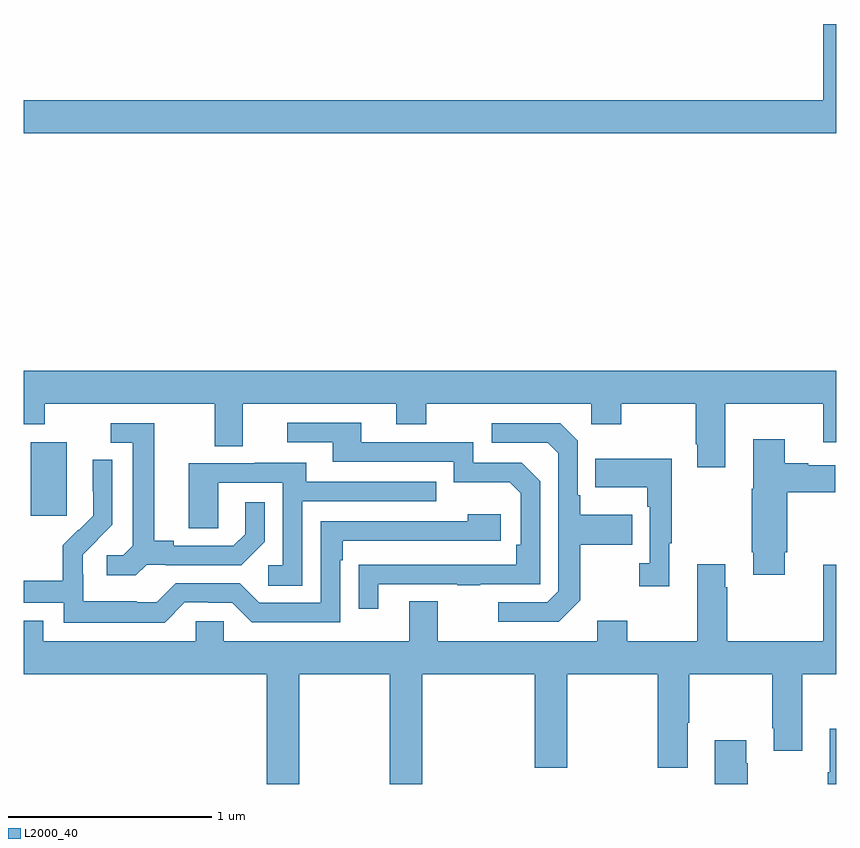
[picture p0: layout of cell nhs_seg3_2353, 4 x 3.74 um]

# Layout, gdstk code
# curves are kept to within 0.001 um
import gdstk
lib = gdstk.Library(unit=1e-6, precision=1e-09)
def R(c, l, rs):  # rectangles x0, y0, x1, y1
    for r in rs: c.add(gdstk.rectangle(r[:2], r[2:], *l))
def P(c, l, *ps):  # polygons
    for p in ps: c.add(gdstk.Polygon(p, *l))
L2000_40 = (2000, 40)

nhs_seg3_2353 = lib.new_cell('nhs_seg3_2353')
R(nhs_seg3_2353, L2000_40, [(233.033,677.721,233.212,678.082)])
P(nhs_seg3_2353, L2000_40, [(237,680.143),(236.936,680.143),(236.936,679.768),(233,679.768),(233,679.604),(237,679.604)],
  [(236.455,678.272),(236.936,678.272),(236.936,678.084),(237,678.084),(237,678.436),(233,678.436),(233,678.173),(233.103,678.173),(233.103,678.272),(233.939,678.272),(233.939,678.064),(234.079,678.064),(234.079,678.272),(234.833,678.272),(234.833,678.173),(234.981,678.173),(234.981,678.272),(235.794,678.272),(235.794,678.173),(235.941,678.173),(235.941,678.272),(236.308,678.272),(236.308,678.073),(236.315,678.073),(236.315,677.961),(236.455,677.961)],
  [(234.745,677.385),(235.135,677.385),(235.135,677.38),(235.247,677.38),(235.247,677.385),(235.542,677.385),(235.542,677.892),(235.452,677.982),(235.212,677.982),(235.212,678.084),(234.661,678.084),(234.661,678.18),(234.297,678.18),(234.297,678.084),(234.521,678.084),(234.521,677.988),(235.116,677.988),(235.116,677.885),(235.393,677.885),(235.446,677.832),(235.446,677.578),(235.426,677.578),(235.426,677.481),(234.649,677.48),(234.649,677.262),(234.745,677.262)],
  [(235.741,677.305),(235.741,677.578),(235.997,677.578),(235.997,677.725),(235.741,677.725),(235.741,677.821),(235.728,677.821),(235.728,678.09),(235.641,678.177),(235.305,678.177),(235.305,678.081),(235.581,678.081),(235.632,678.03),(235.632,677.349),(235.578,677.295),(235.335,677.295),(235.335,677.199),(235.635,677.199)],
  [(233.604,677.481),(233.698,677.481),(233.698,677.478),(234.07,677.478),(234.186,677.594),(234.186,677.788),(234.089,677.788),(234.089,677.631),(234.032,677.574),(233.737,677.574),(233.737,677.597),(233.641,677.597),(233.641,678.177),(233.427,678.177),(233.427,678.081),(233.537,678.081),(233.537,677.573),(233.49,677.526),(233.409,677.526),(233.409,677.429),(233.552,677.429)],
  [(236.746,677.542),(236.759,677.542),(236.759,677.837),(236.995,677.837),(236.995,677.971),(236.862,677.971),(236.862,677.979),(236.746,677.979),(236.746,678.097),(236.591,678.097),(236.591,677.853),(236.584,677.853),(236.584,677.542),(236.591,677.542),(236.591,677.43),(236.746,677.43)],
  [(236.179,677.585),(236.191,677.585),(236.191,678.001),(235.813,678.001),(235.813,677.861),(236.07,677.861),(236.07,677.765),(236.082,677.765),(236.082,677.486),(236.031,677.486),(236.031,677.373),(236.179,677.373)],
  [(233.793,677.295),(233.909,677.295),(233.909,677.292),(234.027,677.292),(234.123,677.196),(234.558,677.196),(234.558,677.501),(234.571,677.501),(234.571,677.598),(235.348,677.598),(235.348,677.728),(235.187,677.728),(235.187,677.694),(234.462,677.694),(234.462,677.292),(234.159,677.292),(234.063,677.388),(233.748,677.388),(233.655,677.295),(233.555,677.295),(233.555,677.299),(233.292,677.299),(233.292,677.433),(233.29,677.433),(233.29,677.53),(233.436,677.678),(233.436,677.996),(233.34,677.996),(233.34,677.842),(233.342,677.842),(233.342,677.72),(233.271,677.649),(233.268,677.652),(233.191,677.575),(233.191,677.401),(233,677.401),(233,677.292),(233.196,677.292),(233.196,677.195),(233.693,677.195)],
  [(234.372,677.793),(235.031,677.793),(235.031,677.889),(234.391,677.889),(234.391,677.983),(234.137,677.983),(234.137,677.979),(233.813,677.979),(233.813,677.659),(233.958,677.659),(233.958,677.883),(234.276,677.883),(234.276,677.478),(234.204,677.478),(234.204,677.377),(234.372,677.377)],
  [(234.357,676.94),(234.802,676.94),(234.802,676.4),(234.962,676.4),(234.962,676.94),(235.517,676.94),(235.517,676.479),(235.677,676.479),(235.677,676.94),(236.122,676.94),(236.122,676.479),(236.269,676.479),(236.269,676.702),(236.277,676.702),(236.277,676.94),(236.686,676.94),(236.686,676.675),(236.693,676.675),(236.693,676.563),(236.833,676.563),(236.833,676.94),(237,676.94),(237,677.479),(236.936,677.479),(236.936,677.104),(236.463,677.104),(236.463,677.369),(236.455,677.369),(236.455,677.482),(236.315,677.482),(236.315,677.104),(235.971,677.104),(235.971,677.203),(235.823,677.203),(235.823,677.104),(235.039,677.104),(235.039,677.299),(234.899,677.299),(234.899,677.104),(233.985,677.104),(233.985,677.202),(233.847,677.202),(233.847,677.104),(233.095,677.104),(233.095,677.203),(233,677.203),(233,676.94),(234.197,676.94),(234.197,676.4),(234.357,676.4)],
  [(237,676.672),(236.969,676.672),(236.969,676.459),(236.958,676.459),(236.958,676.4),(237,676.4)],
  [(236.565,676.502),(236.557,676.502),(236.557,676.615),(236.402,676.615),(236.402,676.4),(236.565,676.4)])

lib.write_gds('nhs_seg3_2353.gds')
